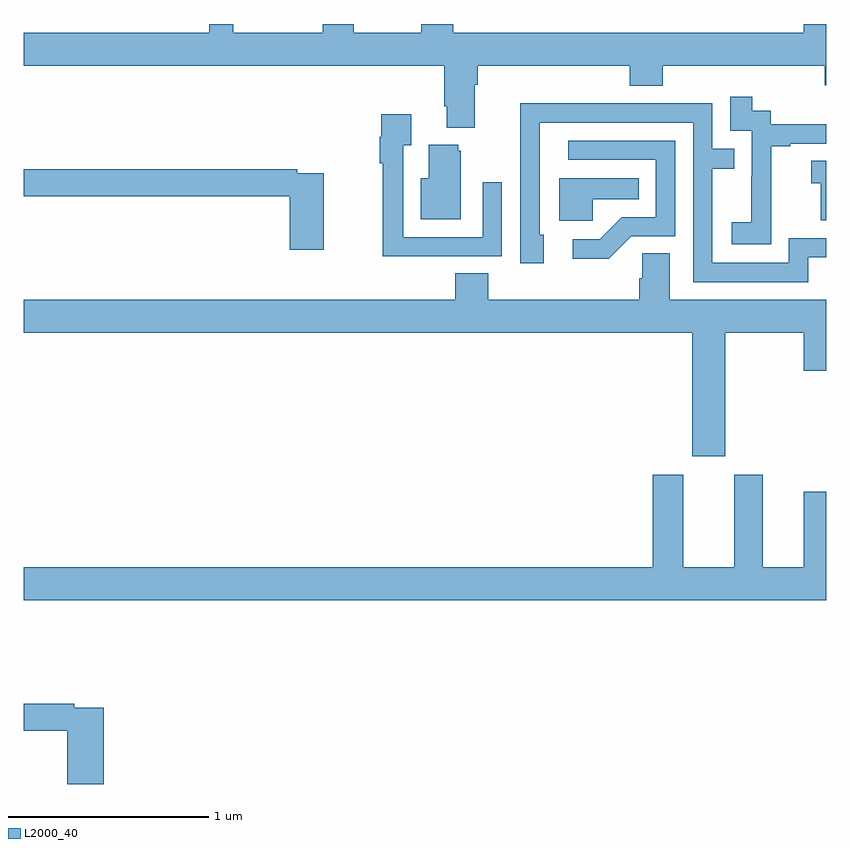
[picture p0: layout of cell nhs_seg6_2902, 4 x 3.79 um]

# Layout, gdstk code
import gdstk
lib = gdstk.Library(unit=1e-6, precision=1e-09)
def P(c, l, *ps):  # polygons
    for p in ps: c.add(gdstk.Polygon(p, *l))
L2000_40 = (2000, 40)

nhs_seg6_2902 = lib.new_cell('nhs_seg6_2902')
P(nhs_seg6_2902, L2000_40, [(283.249,991.196),(283.262,991.196),(283.262,991.292),(284.021,991.292),(284.021,991.193),(284.186,991.193),(284.186,991.292),(284.993,991.292),(284.993,991.194),(285,991.194),(285,991.5),(284.888,991.5),(284.888,991.456),(283.142,991.456),(283.142,991.5),(282.982,991.5),(282.982,991.456),(282.645,991.456),(282.645,991.5),(282.49,991.5),(282.49,991.456),(282.043,991.456),(282.043,991.5),(281.925,991.5),(281.925,991.456),(281,991.456),(281,991.292),(283.097,991.292),(283.097,991.09),(283.109,991.09),(283.109,990.983),(283.249,990.983)],
  [(284.727,990.607),(284.726,990.607),(284.726,990.891),(284.821,990.891),(284.821,990.903),(285,990.903),(285,990.999),(284.724,990.999),(284.724,991.068),(284.632,991.068),(284.632,991.138),(284.523,991.138),(284.523,990.969),(284.628,990.969),(284.628,990.74),(284.627,990.74),(284.627,990.511),(284.529,990.511),(284.529,990.401),(284.727,990.401)],
  [(284.911,990.336),(285,990.336),(285,990.432),(284.814,990.432),(284.814,990.309),(284.433,990.309),(284.433,990.778),(284.543,990.778),(284.543,990.879),(284.433,990.879),(284.433,991.104),(283.937,991.104),(283.937,991.106),(283.474,991.106),(283.474,990.799),(283.476,990.799),(283.476,990.306),(283.591,990.306),(283.591,990.45),(283.572,990.45),(283.572,990.772),(283.573,990.772),(283.573,991.008),(284.337,991.008),(284.337,990.213),(284.911,990.213)],
  [(283.067,990.342),(283.383,990.342),(283.383,990.712),(283.287,990.712),(283.287,990.438),(282.891,990.438),(282.891,990.895),(282.931,990.895),(282.931,991.051),(282.783,991.051),(282.783,990.938),(282.775,990.938),(282.775,990.806),(282.79,990.806),(282.79,990.341),(283.067,990.341)],
  [(284.028,990.441),(284.247,990.441),(284.247,990.918),(283.713,990.918),(283.713,990.822),(284.151,990.822),(284.151,990.537),(283.982,990.537),(283.871,990.426),(283.737,990.426),(283.737,990.329),(283.915,990.329)],
  [(283.177,990.867),(283.166,990.867),(283.166,990.898),(283.019,990.898),(283.019,990.73),(282.98,990.73),(282.98,990.527),(283.177,990.527)],
  [(285,990.817),(284.925,990.817),(284.925,990.707),(284.974,990.707),(284.974,990.522),(285,990.522)],
  [(282.496,990.756),(282.362,990.756),(282.362,990.776),(281,990.776),(281,990.64),(282.326,990.64),(282.326,990.375),(282.496,990.375)],
  [(283.836,990.626),(284.066,990.626),(284.066,990.73),(283.67,990.73),(283.67,990.518),(283.836,990.518)],
  [(284.497,989.96),(284.888,989.96),(284.888,989.772),(285,989.772),(285,990.124),(284.221,990.124),(284.221,990.356),(284.082,990.356),(284.082,990.233),(284.069,990.233),(284.069,990.124),(283.316,990.124),(283.316,990.257),(283.151,990.257),(283.151,990.124),(281,990.124),(281,989.96),(284.333,989.96),(284.333,989.346),(284.497,989.346)],
  [(285,989.167),(284.888,989.167),(284.888,988.792),(284.683,988.792),(284.683,989.254),(284.543,989.254),(284.543,988.792),(284.287,988.792),(284.287,989.254),(284.135,989.254),(284.135,988.792),(281,988.792),(281,988.628),(285,988.628)],
  [(281.399,988.092),(281.252,988.092),(281.252,988.112),(281,988.112),(281,987.976),(281.216,987.976),(281.216,987.711),(281.399,987.711)])

lib.write_gds('nhs_seg6_2902.gds')
